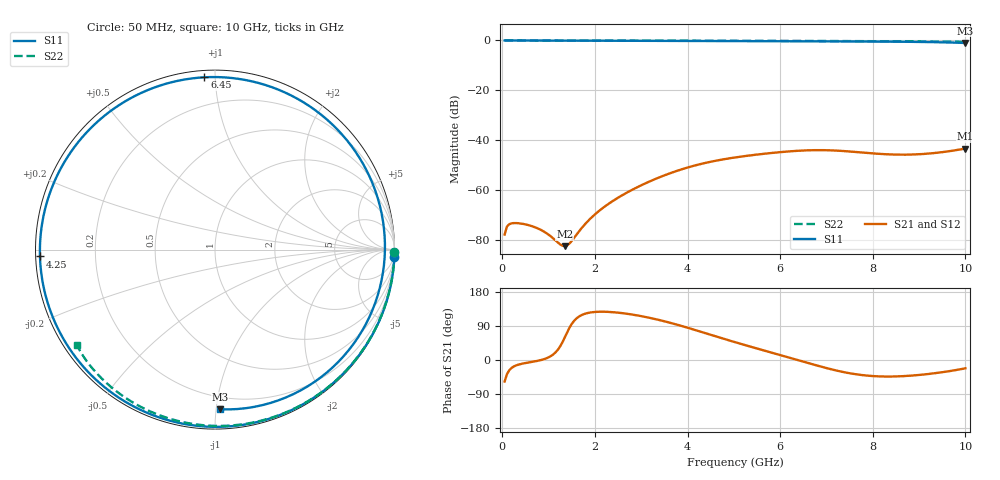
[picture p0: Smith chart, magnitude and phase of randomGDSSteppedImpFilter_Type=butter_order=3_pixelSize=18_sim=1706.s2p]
! freq	dB(S11)	phase(S11)	dB(S12)	phase(S12)
!  dB(S21)	phase(S21)	dB(S22)	phase(S22)
!S-par simulation data
#  GHz  S  DB  R 50
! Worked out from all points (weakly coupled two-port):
!   200 points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, 50 MHz to 10 GHz, reference 50 ohm
!   highest |S21| = -43.37 dB at 10 GHz (marker M1); lowest = -82.5 dB at 1.35 GHz (marker M2)
!   lowest |S11| = -1.0 dB at 10 GHz (marker M3), VSWR 17.23, Z = 5.97 - j51.2 ohm
!   |S11| at or under -10 dB: nowhere
!   |S22| runs from -0.6 to 0.0 dB; largest |S21 - S12| = 0
!   S11 on the Smith chart (normalised r, x): 50 MHz: 0, -48; 4.25 GHz: 0.01, -0.02; 6.45 GHz: 0.04, +0.94; 10 GHz: 0.12, -1.02
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0.05  -0.00 -2.4  -77.87 -56.9  -77.87 -56.9  -0.00 -0.8
0.1  -0.00 -4.8  -74.66 -37.5  -74.66 -37.5  -0.00 -1.6
0.15  -0.00 -7.2  -73.72 -27.1  -73.72 -27.1  -0.00 -2.4
0.35  -0.01 -16.8  -73.32 -12.1  -73.32 -12.1  -0.00 -5.7
0.75  -0.04 -35.6  -75.27 -2.5  -75.27 -2.5  -0.01 -12.1
1.15  -0.07 -53.9  -80.22 20.1  -80.22 20.1  -0.02 -18.5
1.35  -0.08 -62.9  -82.52 59.9  -82.52 59.9  -0.03 -21.7
1.5  -0.09 -69.5  -80.40 95.2  -80.40 95.2  -0.03 -24.1
1.75  -0.10 -80.2  -74.45 120.5  -74.45 120.5  -0.04 -28.0
2.5  -0.13 -111.1  -63.08 124.9  -63.08 124.9  -0.05 -39.6
3.4  -0.17 -145.9  -54.85 105.2  -54.85 105.2  -0.07 -53.2
4.25  -0.21 -177.8  -49.72 76.0  -49.72 76.0  -0.09 -65.7
5.05  -0.26 151.7  -46.87 46.2  -46.87 46.2  -0.12 -77.0
5.8  -0.30 121.5  -45.16 20.0  -45.16 20.0  -0.15 -87.3
6.45  -0.34 93.5  -44.19 -2.6  -44.19 -2.6  -0.18 -96.0
6.7  -0.35 82.3  -44.02 -11.3  -44.02 -11.3  -0.19 -99.3
7.45  -0.39 47.0  -44.47 -33.8  -44.47 -33.8  -0.24 -109.1
7.9  -0.42 24.9  -45.16 -41.4  -45.16 -41.4  -0.27 -114.9
8.35  -0.47 2.3  -45.70 -43.7  -45.70 -43.7  -0.31 -120.7
9.1  -0.61 -36.7  -45.53 -38.3  -45.53 -38.3  -0.39 -130.7
9.6  -0.78 -64.3  -44.55 -30.4  -44.55 -30.4  -0.46 -138.0
10  -1.01 -88.2  -43.37 -21.9  -43.37 -21.9  -0.58 -145.2
